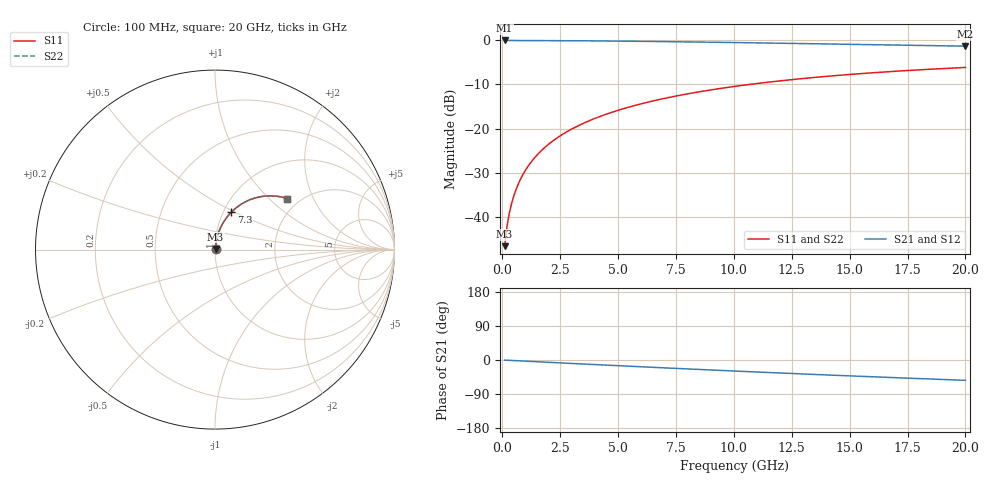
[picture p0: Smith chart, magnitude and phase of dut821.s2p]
! Touchstone file exported from HFSS 2026.1.0
!  File:  C:/ffzhzh/LocalFiles/Ansys_Project_Files/temp_train_BSMRDL_821_1783170053_51560.aedt
!  Generated:  09:02:20 PM Jul  4, 2026
!  Design:  BSMRDL
!  Project:  temp_train_BSMRDL_821_1783170053_51560
! Variables:
!  h_bsmrdl = 4.28um
!  h_ox = 20um
!  h_rdl = 5um
!  h_sub = 80um
!  h_tmrdl = 5um
!  h_tsv = 80um
!  h_via = 3um
!  l_bsmrdl = 794.35um
!  l_sub = 1194.35um
!  l_tmrdl = 200um
!  m_sub = 200um
!  pitch = 59.19um
!  r_tsv = 6um
!  s_tmrdl = 10um
!  w_bsmrdl = 23.51um
!  w_sub = 500um
!  w_tmrdl = 12um
!  x_tsv_center1 = 206um
!  x_tsv_center2 = 1023.86um
!  x_tsv_center3 = 1235.86um
!  x_tsv_center4 = 2053.72um
!  x_tsv_center5 = 2265.72um
!  x_tsv_center6 = 3083.58um
# GHz S MA R 50.000000
! Terminal data exported
! Port[1] = BSM_RDL1_1_T1
! Port[2] = BSM_RDL1_1_T2
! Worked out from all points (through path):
!   200 points, 100 MHz to 20 GHz, reference 50 ohm
!   highest |S21| = -0.03 dB at 100 MHz (marker M1); lowest = -1.3 dB at 20 GHz (marker M2)
!   group delay of S21, straight-line fit = 7.45 ps
!   lowest |S11| = -46.6 dB at 100 MHz (marker M3), VSWR 1.01, Z = 50.3 + j0.359 ohm
!   |S11| at or under -10 dB: start of sweep to 10.66 GHz
!   |S22| runs from -46.6 to -6.1 dB; largest |S21 - S12| = 1.3e-14
!   S11 on the Smith chart (normalised r, x): 100 MHz: 1.01, +0.01; 7.3 GHz: 1.09, +0.48; 20 GHz: 1.73, +1.30
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0.1  0.004657 50.0  0.997 -0.3  0.997 -0.3  0.004657 50.0
! Gamma 0 0 0 0
! Port Impedance 50 0 50 0
0.2  0.007714 65.3  0.9968 -0.6  0.9968 -0.6  0.007714 65.3
0.3  0.01091 71.4  0.9966 -0.9  0.9966 -0.9  0.01091 71.4
0.4  0.01414 74.7  0.9965 -1.2  0.9965 -1.2  0.01414 74.7
0.5  0.01738 76.8  0.9963 -1.5  0.9963 -1.5  0.01738 76.8
0.7  0.0239 79.1  0.9961 -2.2  0.9961 -2.2  0.0239 79.1
1  0.03375 80.5  0.9957 -3.1  0.9957 -3.1  0.03375 80.5
1.2  0.04033 80.8  0.9953 -3.7  0.9953 -3.7  0.04033 80.8
1.4  0.04691 80.9  0.995 -4.3  0.995 -4.3  0.04691 80.9
1.7  0.05677 80.7  0.9943 -5.2  0.9943 -5.2  0.05677 80.6
2  0.06658 80.2  0.9935 -6.1  0.9935 -6.1  0.06658 80.2
2.7  0.0893 78.7  0.9913 -8.2  0.9913 -8.2  0.0893 78.7
3.5  0.1148 76.7  0.988 -10.6  0.988 -10.6  0.1148 76.7
4.2  0.1367 74.8  0.9847 -12.7  0.9847 -12.7  0.1367 74.8
5  0.1612 72.6  0.9804 -15.0  0.9804 -15.0  0.1612 72.6
6.8  0.2141 67.7  0.969 -20.2  0.969 -20.2  0.2141 67.7
7.3  0.2283 66.4  0.9655 -21.6  0.9655 -21.6  0.2283 66.3
8.6  0.2637 62.9  0.9558 -25.2  0.9558 -25.2  0.2637 62.8
10.1  0.3024 58.9  0.9438 -29.3  0.9438 -29.3  0.3024 58.9
13.4  0.3784 50.5  0.9154 -37.9  0.9154 -37.9  0.3784 50.5
16.7  0.4417 42.6  0.8865 -46.0  0.8865 -46.0  0.4417 42.6
20  0.4929 35.2  0.8592 -53.6  0.8592 -53.6  0.4929 35.1
